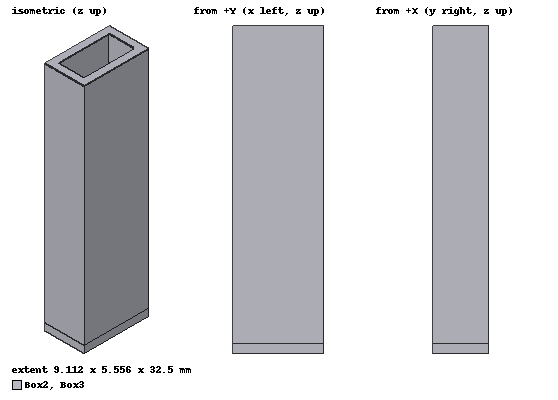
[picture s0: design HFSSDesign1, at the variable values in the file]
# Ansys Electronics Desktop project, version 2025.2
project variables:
  $a = 7.112mm
  $b = 3.556mm
  $l = 31.5mm
  $w = 1mm
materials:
  vacuum: permittivity=1
  pec: conductivity=1e+30

design HFSSDesign1 (HFSS, HFSS Modal Network, model units mm)
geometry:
  Box1 = box(corner=(-$a/2, -$b/2, 0mm), size=($a, $b, -$l))
  Box2 [pec] = box(corner=(-$a/2-$w, -$b/2-$w, 0mm), size=($a+2*$w, $b+2*$w, -$l))
  Box2.subtract(Box1)
  Rectangle1 = rectangle(corner=(-$a/2, -$b/2, -$l), x_size=$a, y_size=$b)
  Box3 [pec] = box(corner=(-$a/2-$w, -$b/2-$w, -$l-$w), size=($a+2*$w, $b+2*$w, $w))
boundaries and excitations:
  Port1: Wave Port Faces=Rectangle1.face WavePortType=Modal NumModes=1 Modes{Mode1{IntLine{(0, -1.778, -31.5) -> (0, 1.778, -31.5)} CharImp=Zpi}}
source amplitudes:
  Port1:1: 1W 0deg
